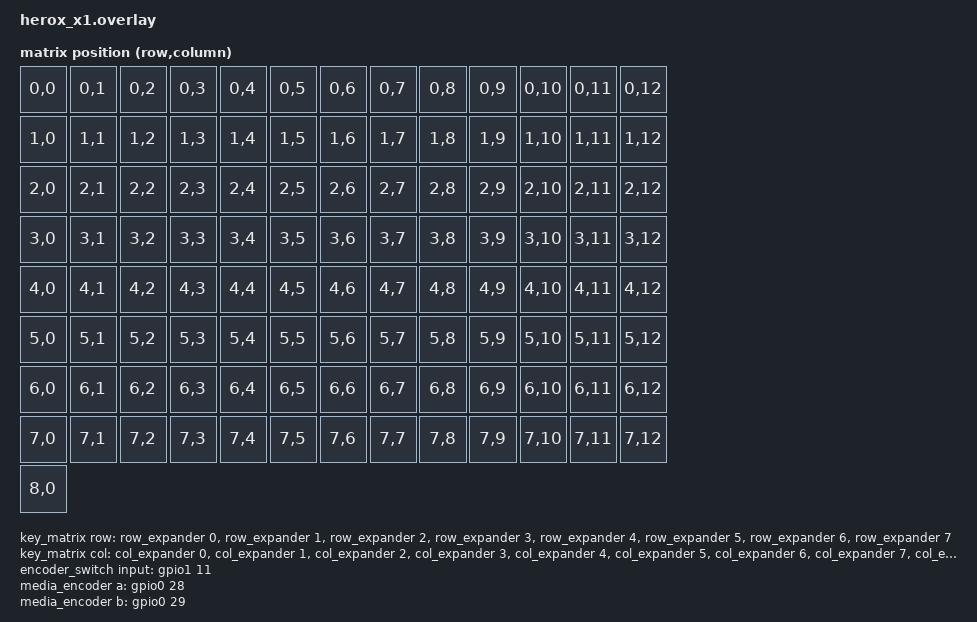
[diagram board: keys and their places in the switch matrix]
#include <dt-bindings/led/led.h>
#include <dt-bindings/zmk/hid_indicators.h>
#include <dt-bindings/zmk/matrix_transform.h>
#include <zephyr/dt-bindings/i2c/i2c.h>
#include "herox_x1-layouts.dtsi"

&layout_ansi_104 {
    transform = <&default_transform>;
    kscan = <&kscan0>;
};

&pinctrl {
    herox_spi2_default: herox_spi2_default {
        group1 {
            psels = <NRF_PSEL(SPIM_SCK, 1, 13)>,
                    <NRF_PSEL(SPIM_MOSI, 0, 2)>;
        };
    };

    herox_spi2_sleep: herox_spi2_sleep {
        group1 {
            psels = <NRF_PSEL(SPIM_SCK, 1, 13)>,
                    <NRF_PSEL(SPIM_MOSI, 0, 2)>;
            low-power-enable;
        };
    };
};

/ {
    chosen {
        zmk,kscan = &kscan0;
        zmk,physical-layout = &layout_ansi_104;
        zmk,battery = &fuel_gauge;
        zephyr,led-strip = &key_leds;
    };

    default_transform: keymap_transform_0 {
        compatible = "zmk,matrix-transform";
        rows = <9>;
        columns = <13>;
        map = <
            RC(0,0) RC(0,1) RC(0,2) RC(0,3) RC(0,4) RC(0,5) RC(0,6) RC(0,7) RC(0,8) RC(0,9) RC(0,10) RC(0,11) RC(0,12)
            RC(1,0) RC(1,1) RC(1,2) RC(1,3) RC(1,4) RC(1,5) RC(1,6) RC(1,7) RC(1,8) RC(1,9) RC(1,10) RC(1,11) RC(1,12)
            RC(2,0) RC(2,1) RC(2,2) RC(2,3) RC(2,4) RC(2,5) RC(2,6) RC(2,7) RC(2,8) RC(2,9) RC(2,10) RC(2,11) RC(2,12)
            RC(3,0) RC(3,1) RC(3,2) RC(3,3) RC(3,4) RC(3,5) RC(3,6) RC(3,7) RC(3,8) RC(3,9) RC(3,10) RC(3,11) RC(3,12)
            RC(4,0) RC(4,1) RC(4,2) RC(4,3) RC(4,4) RC(4,5) RC(4,6) RC(4,7) RC(4,8) RC(4,9) RC(4,10) RC(4,11) RC(4,12)
            RC(5,0) RC(5,1) RC(5,2) RC(5,3) RC(5,4) RC(5,5) RC(5,6) RC(5,7) RC(5,8) RC(5,9) RC(5,10) RC(5,11) RC(5,12)
            RC(6,0) RC(6,1) RC(6,2) RC(6,3) RC(6,4) RC(6,5) RC(6,6) RC(6,7) RC(6,8) RC(6,9) RC(6,10) RC(6,11) RC(6,12)
            RC(7,0) RC(7,1) RC(7,2) RC(7,3) RC(7,4) RC(7,5) RC(7,6) RC(7,7) RC(7,8) RC(7,9) RC(7,10) RC(7,11) RC(7,12)
            RC(8,0)
        >;
    };

    kscan0: kscan {
        compatible = "zmk,kscan-composite";
        rows = <9>;
        columns = <13>;
        wakeup-source;

        matrix {
            kscan = <&key_matrix>;
        };

        encoder_button {
            kscan = <&encoder_switch>;
            row-offset = <8>;
        };
    };

    key_matrix: key_matrix {
        compatible = "zmk,kscan-gpio-matrix";
        diode-direction = "row2col";
        debounce-press-ms = <5>;
        debounce-release-ms = <5>;
        debounce-scan-period-ms = <1>;
        wakeup-source;

        row-gpios
            = <&row_expander 0 GPIO_ACTIVE_LOW>
            , <&row_expander 1 GPIO_ACTIVE_LOW>
            , <&row_expander 2 GPIO_ACTIVE_LOW>
            , <&row_expander 3 GPIO_ACTIVE_LOW>
            , <&row_expander 4 GPIO_ACTIVE_LOW>
            , <&row_expander 5 GPIO_ACTIVE_LOW>
            , <&row_expander 6 GPIO_ACTIVE_LOW>
            , <&row_expander 7 GPIO_ACTIVE_LOW>
            ;

        col-gpios
            = <&col_expander 0 GPIO_ACTIVE_LOW>
            , <&col_expander 1 GPIO_ACTIVE_LOW>
            , <&col_expander 2 GPIO_ACTIVE_LOW>
            , <&col_expander 3 GPIO_ACTIVE_LOW>
            , <&col_expander 4 GPIO_ACTIVE_LOW>
            , <&col_expander 5 GPIO_ACTIVE_LOW>
            , <&col_expander 6 GPIO_ACTIVE_LOW>
            , <&col_expander 7 GPIO_ACTIVE_LOW>
            , <&col_expander 8 GPIO_ACTIVE_LOW>
            , <&col_expander 9 GPIO_ACTIVE_LOW>
            , <&col_expander 10 GPIO_ACTIVE_LOW>
            , <&col_expander 11 GPIO_ACTIVE_LOW>
            , <&col_expander 12 GPIO_ACTIVE_LOW>
            ;
    };

    encoder_switch: encoder_switch {
        compatible = "zmk,kscan-gpio-direct";
        input-gpios = <&gpio1 11 (GPIO_ACTIVE_LOW | GPIO_PULL_UP)>;
        debounce-press-ms = <5>;
        debounce-release-ms = <5>;
        wakeup-source;
    };

    media_encoder: media_encoder {
        compatible = "alps,ec11";
        a-gpios = <&gpio0 28 (GPIO_ACTIVE_LOW | GPIO_PULL_UP)>;
        b-gpios = <&gpio0 29 (GPIO_ACTIVE_LOW | GPIO_PULL_UP)>;
        steps = <80>;
    };

    sensors: sensors {
        compatible = "zmk,keymap-sensors";
        sensors = <&media_encoder>;
        triggers-per-rotation = <20>;
    };

    status_leds: status_leds {
        compatible = "gpio-leds";

        caps_lock_led: caps_lock_led {
            gpios = <&row_expander 8 GPIO_ACTIVE_LOW>;
        };

        num_lock_led: num_lock_led {
            gpios = <&row_expander 9 GPIO_ACTIVE_LOW>;
        };

        host_1_led: host_1_led {
            gpios = <&row_expander 10 GPIO_ACTIVE_LOW>;
        };

        host_2_led: host_2_led {
            gpios = <&row_expander 11 GPIO_ACTIVE_LOW>;
        };

        host_3_led: host_3_led {
            gpios = <&row_expander 12 GPIO_ACTIVE_LOW>;
        };
    };

    indicators {
        compatible = "zmk,indicator-leds";

        caps_lock_indicator: caps_lock {
            indicator = <HID_INDICATOR_CAPS_LOCK>;
            leds = <&caps_lock_led>;
        };

        num_lock_indicator: num_lock {
            indicator = <HID_INDICATOR_NUM_LOCK>;
            leds = <&num_lock_led>;
        };
    };

    nx_feature: nx_feature {
        compatible = "herox,behavior-feature";
        #binding-cells = <1>;
    };
};

&i2c1 {
    status = "okay";
    clock-frequency = <I2C_BITRATE_FAST>;

    row_expander: gpio@20 {
        compatible = "nxp,pca9555";
        reg = <0x20>;
        gpio-controller;
        #gpio-cells = <2>;
        ngpios = <16>;
        status = "okay";
    };

    col_expander: gpio@21 {
        compatible = "nxp,pca9555";
        reg = <0x21>;
        gpio-controller;
        #gpio-cells = <2>;
        ngpios = <16>;
        int-gpios = <&gpio0 3 GPIO_ACTIVE_LOW>;
        status = "okay";
    };

    fuel_gauge: max17048@36 {
        compatible = "zmk,maxim-max17048";
        reg = <0x36>;
        status = "okay";
    };

    haptic: drv2605@5a {
        compatible = "ti,drv2605";
        reg = <0x5a>;
        actuator-mode = "LRA";
        feedback-brake-factor = "3X";
        loop-gain = "HIGH";
        vib-rated-mv = <2500>;
        vib-overdrive-mv = <2500>;
        status = "okay";
    };
};

&spi2 {
    compatible = "nordic,nrf-spim";
    pinctrl-0 = <&herox_spi2_default>;
    pinctrl-1 = <&herox_spi2_sleep>;
    pinctrl-names = "default", "sleep";
    status = "okay";

    key_leds: ws2812@0 {
        compatible = "worldsemi,ws2812-spi";
        reg = <0>;
        spi-max-frequency = <4000000>;
        chain-length = <104>;
        spi-one-frame = <0x70>;
        spi-zero-frame = <0x40>;
        color-mapping = <LED_COLOR_ID_GREEN LED_COLOR_ID_RED LED_COLOR_ID_BLUE>;
    };
};
